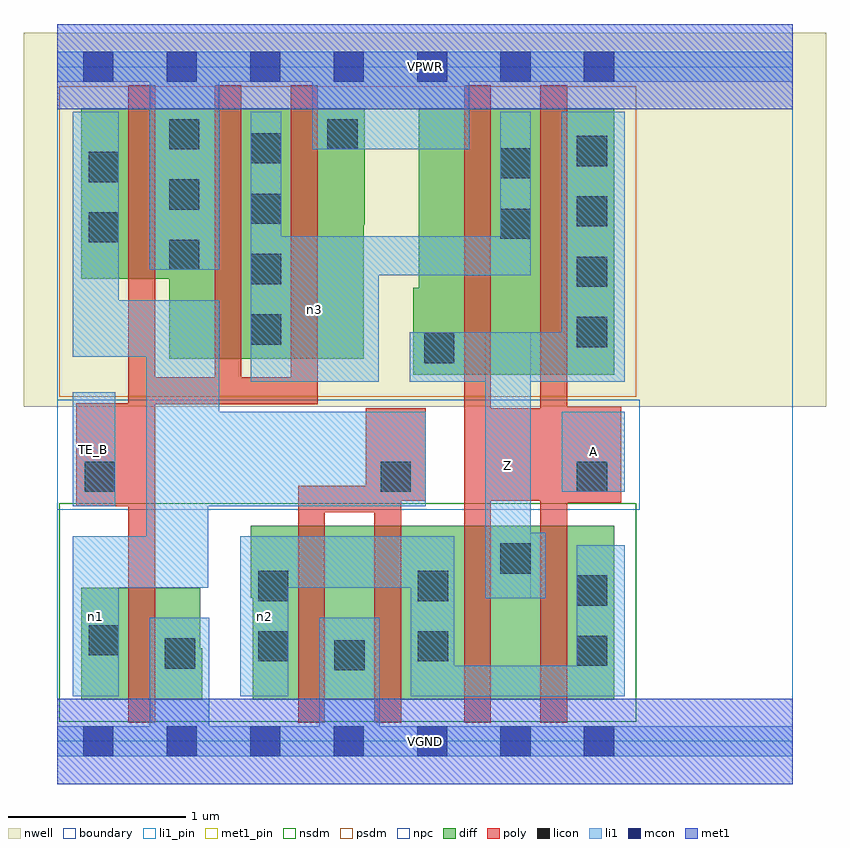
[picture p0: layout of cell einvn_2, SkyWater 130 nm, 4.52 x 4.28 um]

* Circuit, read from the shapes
.subckt einvn_2 A TE_B VGND VPWR Z n1 n2 n3
XM1 VGND TE_B n1 VSUBS sky130_fd_pr__nfet_01v8 w=0.63 l=0.15
XM2 VGND n1 n2 VSUBS sky130_fd_pr__nfet_01v8 w=0.98 l=0.15 m=2
XM3 Z A n2 VSUBS sky130_fd_pr__nfet_01v8 w=0.98 l=0.15 m=2
XM4 VPWR TE_B n1 n4 sky130_fd_pr__pfet_01v8 w=0.96 l=0.15
XM5 n3 TE_B VPWR n4 sky130_fd_pr__pfet_01v8 w=1.41 l=0.15 m=2
XM6 n3 A Z n4 sky130_fd_pr__pfet_01v8 w=1.5 l=0.15 m=2
.ends

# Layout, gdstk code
import gdstk
lib = gdstk.Library(unit=1e-6, precision=1e-09)
def R(c, l, rs):  # rectangles x0, y0, x1, y1
    for r in rs: c.add(gdstk.rectangle(r[:2], r[2:], *l))
def A(c, l, x, y, w, h, nx, ny, dx, dy):  # array of equal rectangles
    R(c, l, [(x+i*dx, y+j*dy, x+i*dx+w, y+j*dy+h) for i in range(nx) for j in range(ny)])
nwell = (64, 20)
diff = (65, 20)
poly = (66, 20)
licon = (66, 44)
li1_pin = (67, 16)
li1 = (67, 20)
mcon = (67, 44)
met1_pin = (68, 16)
met1 = (68, 20)
nsdm = (93, 44)
psdm = (94, 20)
npc = (95, 20)
boundary = (235, 4)

einvn_2 = lib.new_cell('einvn_2')
R(einvn_2, nwell, [(-0.19,1.885,4.33,3.99), (0,1.885,4.14,3.99)])
R(einvn_2, diff, [(0.135,0.235,0.805,0.865), (0.135,0.235,0.815,0.525), (1.1,0.235,3.135,1.215), (1.09,0.81,3.135,1.215), (2.005,2.065,3.135,2.555), (2.035,2.065,3.135,3.565), (0.63,2.155,1.725,3.565), (0.135,2.605,1.725,3.565), (0.135,2.91,1.73,3.565)])
R(einvn_2, poly, [(0.4,0.105,0.55,3.695), (1.355,0.105,1.505,1.44), (1.785,0.105,1.935,1.875), (2.29,0.105,2.44,3.695), (2.72,0.105,2.87,3.695), (1.355,1.29,1.935,1.44), (0.105,1.325,0.55,1.905), (2.72,1.345,3.175,1.885), (1.735,1.355,2.075,1.875), (2.29,1.355,3.175,1.875), (0.4,1.9,1.465,2.05), (0.885,1.9,1.035,3.695), (1.315,1.9,1.465,3.695)])
A(einvn_2, licon, 2.925, 2.22, 0.17, 0.17, 1, 4, 0, 0.34)
A(einvn_2, licon, 1.09, 2.235, 0.17, 0.17, 1, 4, 0, 0.34)
A(einvn_2, licon, 0.63, 2.655, 0.17, 0.17, 1, 3, 0, 0.34)
R(einvn_2, licon, [(1.56,0.4,1.73,0.57), (0.605,0.41,0.775,0.58), (2.925,0.425,3.095,0.595), (1.13,0.45,1.3,0.62), (2.03,0.45,2.2,0.62), (0.175,0.485,0.345,0.655), (2.925,0.765,3.095,0.935), (1.13,0.79,1.3,0.96), (2.03,0.79,2.2,0.96), (2.495,0.945,2.665,1.115), (0.155,1.405,0.325,1.575), (1.82,1.405,1.99,1.575), (2.925,1.405,3.095,1.575), (2.065,2.13,2.235,2.3), (0.175,2.81,0.345,2.98), (2.495,2.83,2.665,3), (0.175,3.15,0.345,3.32), (2.495,3.17,2.665,3.34), (1.52,3.335,1.69,3.505)])
R(einvn_2, li1_pin, [(2.41,0.805,2.665,2.305), (0.085,1.325,0.325,1.965), (2.84,1.405,3.195,1.855)])
R(einvn_2, li1, [(0,-0.085,4.14,0.085), (0.52,-0.085,0.855,0.695), (1.475,-0.085,1.815,0.695), (0.085,0.255,0.345,1.155), (1.03,0.255,1.3,1.155), (1.99,0.255,3.195,0.425), (1.99,0.255,2.235,1.155), (2.925,0.255,3.195,1.105), (2.41,0.805,2.665,2.305), (2.41,0.805,2.75,1.175), (0.085,0.865,0.85,1.155), (0.5,0.865,0.85,2.485), (1.03,0.865,2.235,1.155), (0.085,1.325,0.325,1.965), (0.5,1.325,2.075,1.855), (0.5,1.325,0.91,2.485), (2.84,1.405,3.195,1.855), (1.09,2.025,1.81,2.845), (1.09,2.025,1.26,3.545), (1.985,2.025,3.195,2.305), (2.84,2.025,3.195,3.545), (0.085,2.165,0.345,3.545), (0.085,2.165,0.91,2.485), (1.09,2.625,2.665,2.845), (2.495,2.625,2.665,3.545), (0.52,2.655,0.91,3.885), (1.435,3.335,2.32,3.885), (0,3.715,4.14,3.885)])
A(einvn_2, mcon, 0.145, -0.085, 0.17, 0.17, 7, 2, 0.47, 3.8)
R(einvn_2, met1_pin, [(0,-0.24,4.14,0.24), (0,3.56,4.14,4.04)])
R(einvn_2, met1, [(0,-0.24,4.14,0.24), (0,3.56,4.14,4.04)])
R(einvn_2, nsdm, [(0.01,0.11,3.26,1.34)])
R(einvn_2, psdm, [(0.01,1.94,3.26,3.69)])
R(einvn_2, npc, [(0,1.305,3.28,1.925)])
R(einvn_2, boundary, [(0,0,4.14,3.8)])
einvn_2.add(gdstk.Label('A', (3.017,1.63), layer=67, texttype=5))
einvn_2.add(gdstk.Label('TE_B', (0.205,1.645), layer=67, texttype=5))
einvn_2.add(gdstk.Label('Z', (2.537,1.555), layer=67, texttype=5))
einvn_2.add(gdstk.Label('n2', (1.165,0.705), layer=67, texttype=5))
einvn_2.add(gdstk.Label('n1', (0.215,0.705), layer=67, texttype=5))
einvn_2.add(gdstk.Label('n3', (1.45,2.435), layer=67, texttype=5))
einvn_2.add(gdstk.Label('VPWR', (2.07,3.8), layer=68, texttype=5))
einvn_2.add(gdstk.Label('VGND', (2.07,0), layer=68, texttype=5))
einvn_2.add(gdstk.Label('A', (3.017,1.63), layer=67, texttype=16))
einvn_2.add(gdstk.Label('TE_B', (0.205,1.645), layer=67, texttype=16))
einvn_2.add(gdstk.Label('Z', (2.537,1.555), layer=67, texttype=16))
einvn_2.add(gdstk.Label('VPWR', (2.07,3.8), layer=68, texttype=16))
einvn_2.add(gdstk.Label('VGND', (2.07,0), layer=68, texttype=16))

lib.write_gds('einvn_2.gds')
